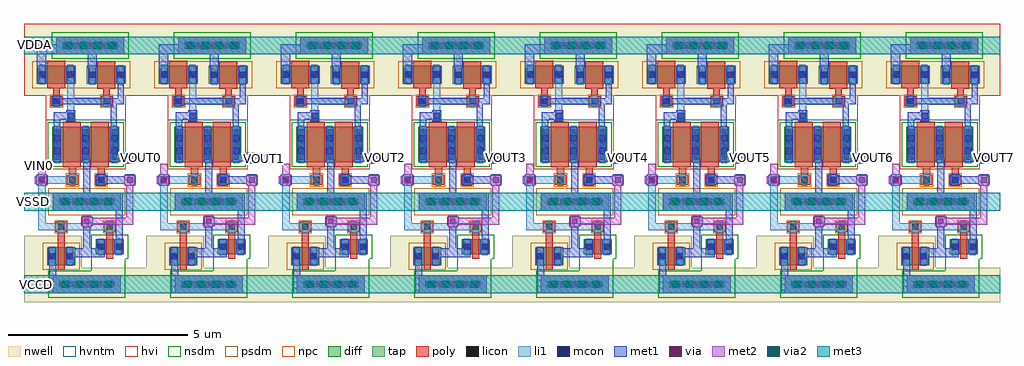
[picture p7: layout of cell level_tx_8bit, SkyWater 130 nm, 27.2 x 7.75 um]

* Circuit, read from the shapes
.subckt level_tx_8bit VCCD VDDA VIN0 VIN1 VIN2 VIN3 VIN4 VIN5 VIN6 VIN7 VOUT0 VOUT1 VOUT2 VOUT3 VOUT4 VOUT5 VOUT6 VOUT7 VSSD
XM1 VSSD VIN0 n1 VSSD sky130_fd_pr__nfet_g5v0d10v5 w=1 l=0.5
XM2 VOUT0 n2 VSSD VSSD sky130_fd_pr__nfet_g5v0d10v5 w=1 l=0.5
XM3 VSSD VIN0 n2 VSSD sky130_fd_pr__nfet_01v8 w=0.42 l=0.2
XM4 VSSD VIN1 n3 VSSD sky130_fd_pr__nfet_g5v0d10v5 w=1 l=0.5
XM5 VOUT1 n4 VSSD VSSD sky130_fd_pr__nfet_g5v0d10v5 w=1 l=0.5
XM6 VSSD VIN1 n4 VSSD sky130_fd_pr__nfet_01v8 w=0.42 l=0.2
XM7 VSSD VIN2 n5 VSSD sky130_fd_pr__nfet_g5v0d10v5 w=1 l=0.5
XM8 VOUT2 n6 VSSD VSSD sky130_fd_pr__nfet_g5v0d10v5 w=1 l=0.5
XM9 VSSD VIN2 n6 VSSD sky130_fd_pr__nfet_01v8 w=0.42 l=0.2
XM10 VSSD VIN3 n7 VSSD sky130_fd_pr__nfet_g5v0d10v5 w=1 l=0.5
XM11 VOUT3 n8 VSSD VSSD sky130_fd_pr__nfet_g5v0d10v5 w=1 l=0.5
XM12 VSSD VIN3 n8 VSSD sky130_fd_pr__nfet_01v8 w=0.42 l=0.2
XM13 VSSD VIN4 n9 VSSD sky130_fd_pr__nfet_g5v0d10v5 w=1 l=0.5
XM14 VOUT4 n10 VSSD VSSD sky130_fd_pr__nfet_g5v0d10v5 w=1 l=0.5
XM15 VSSD VIN4 n10 VSSD sky130_fd_pr__nfet_01v8 w=0.42 l=0.2
XM16 VSSD VIN5 n11 VSSD sky130_fd_pr__nfet_g5v0d10v5 w=1 l=0.5
XM17 VOUT5 n12 VSSD VSSD sky130_fd_pr__nfet_g5v0d10v5 w=1 l=0.5
XM18 VSSD VIN5 n12 VSSD sky130_fd_pr__nfet_01v8 w=0.42 l=0.2
XM19 VSSD VIN6 n13 VSSD sky130_fd_pr__nfet_g5v0d10v5 w=1 l=0.5
XM20 VOUT6 n14 VSSD VSSD sky130_fd_pr__nfet_g5v0d10v5 w=1 l=0.5
XM21 VSSD VIN6 n14 VSSD sky130_fd_pr__nfet_01v8 w=0.42 l=0.2
XM22 VSSD VIN7 n15 VSSD sky130_fd_pr__nfet_g5v0d10v5 w=1 l=0.5
XM23 VOUT7 n16 VSSD VSSD sky130_fd_pr__nfet_g5v0d10v5 w=1 l=0.5
XM24 VSSD VIN7 n16 VSSD sky130_fd_pr__nfet_01v8 w=0.42 l=0.2
XM25 n1 VOUT0 VDDA VDDA sky130_fd_pr__pfet_g5v0d10v5 w=0.5 l=0.5
XM26 n2 VIN0 VCCD VCCD sky130_fd_pr__pfet_01v8 w=0.5 l=0.2
XM27 VOUT0 n1 VDDA VDDA sky130_fd_pr__pfet_g5v0d10v5 w=0.5 l=0.5
XM28 n3 VOUT1 VDDA VDDA sky130_fd_pr__pfet_g5v0d10v5 w=0.5 l=0.5
XM29 n4 VIN1 VCCD VCCD sky130_fd_pr__pfet_01v8 w=0.5 l=0.2
XM30 VOUT1 n3 VDDA VDDA sky130_fd_pr__pfet_g5v0d10v5 w=0.5 l=0.5
XM31 n5 VOUT2 VDDA VDDA sky130_fd_pr__pfet_g5v0d10v5 w=0.5 l=0.5
XM32 n6 VIN2 VCCD VCCD sky130_fd_pr__pfet_01v8 w=0.5 l=0.2
XM33 VOUT2 n5 VDDA VDDA sky130_fd_pr__pfet_g5v0d10v5 w=0.5 l=0.5
XM34 n7 VOUT3 VDDA VDDA sky130_fd_pr__pfet_g5v0d10v5 w=0.5 l=0.5
XM35 n8 VIN3 VCCD VCCD sky130_fd_pr__pfet_01v8 w=0.5 l=0.2
XM36 VOUT3 n7 VDDA VDDA sky130_fd_pr__pfet_g5v0d10v5 w=0.5 l=0.5
XM37 n9 VOUT4 VDDA VDDA sky130_fd_pr__pfet_g5v0d10v5 w=0.5 l=0.5
XM38 n10 VIN4 VCCD VCCD sky130_fd_pr__pfet_01v8 w=0.5 l=0.2
XM39 VOUT4 n9 VDDA VDDA sky130_fd_pr__pfet_g5v0d10v5 w=0.5 l=0.5
XM40 n11 VOUT5 VDDA VDDA sky130_fd_pr__pfet_g5v0d10v5 w=0.5 l=0.5
XM41 n12 VIN5 VCCD VCCD sky130_fd_pr__pfet_01v8 w=0.5 l=0.2
XM42 VOUT5 n11 VDDA VDDA sky130_fd_pr__pfet_g5v0d10v5 w=0.5 l=0.5
XM43 n13 VOUT6 VDDA VDDA sky130_fd_pr__pfet_g5v0d10v5 w=0.5 l=0.5
XM44 n14 VIN6 VCCD VCCD sky130_fd_pr__pfet_01v8 w=0.5 l=0.2
XM45 VOUT6 n13 VDDA VDDA sky130_fd_pr__pfet_g5v0d10v5 w=0.5 l=0.5
XM46 n15 VOUT7 VDDA VDDA sky130_fd_pr__pfet_g5v0d10v5 w=0.5 l=0.5
XM47 n16 VIN7 VCCD VCCD sky130_fd_pr__pfet_01v8 w=0.5 l=0.2
XM48 VOUT7 n15 VDDA VDDA sky130_fd_pr__pfet_g5v0d10v5 w=0.5 l=0.5
.ends

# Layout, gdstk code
import gdstk
lib = gdstk.Library(unit=1e-6, precision=1e-09)
def R(c, l, rs):  # rectangles x0, y0, x1, y1
    for r in rs: c.add(gdstk.rectangle(r[:2], r[2:], *l))
def A(c, l, x, y, w, h, nx, ny, dx, dy):  # array of equal rectangles
    R(c, l, [(x+i*dx, y+j*dy, x+i*dx+w, y+j*dy+h) for i in range(nx) for j in range(ny)])
nwell = (64, 20)
diff = (65, 20)
tap = (65, 44)
poly = (66, 20)
licon = (66, 44)
li1 = (67, 20)
mcon = (67, 44)
met1 = (68, 20)
via = (68, 44)
met2 = (69, 20)
via2 = (69, 44)
met3 = (70, 20)
hvi = (75, 20)
nsdm = (93, 44)
psdm = (94, 20)
npc = (95, 20)
hvntm = (125, 20)

level_tx_1bit = lib.new_cell('level_tx_1bit')
R(level_tx_1bit, nwell, [(-7.9,2.35,-4.5,3.3), (-7.9,3.3,-6.295,4.185), (-7.9,4.185,-6.3,4.2), (-7.9,8.1,-4.5,10.1)])
R(level_tx_1bit, diff, [(-7.255,3.375,-6.475,3.875), (-5.9,3.68,-5.12,4.1), (-7.115,6.24,-5.245,7.24), (-6.145,8.43,-5.065,8.93), (-7.54,8.44,-6.46,8.94)])
R(level_tx_1bit, tap, [(-7.1,2.6,-5.2,3.1), (-7.1,4.9,-5.2,5.4), (-7,9.25,-5.1,9.75)])
R(level_tx_1bit, poly, [(-6.965,3.245,-6.765,4.315), (-5.61,3.55,-5.41,4.315), (-7.03,4.315,-6.7,4.585), (-5.675,4.315,-5.345,4.585), (-6.715,5.615,-6.385,5.885), (-5.915,5.615,-5.585,5.885), (-6.65,5.885,-6.45,6.11), (-5.85,5.885,-5.65,6.11), (-6.825,6.11,-6.325,7.37), (-6.035,6.11,-5.535,7.37), (-7.16,7.81,-6.83,8.08), (-5.76,7.81,-5.43,8.08), (-7.085,8.08,-6.91,8.31), (-5.69,8.08,-5.505,8.3), (-5.855,8.3,-5.355,9.06), (-7.25,8.31,-6.75,9.07)])
A(level_tx_1bit, licon, -6.915, 2.765, 0.17, 0.17, 5, 2, 0.34, 2.3)
A(level_tx_1bit, licon, -7.055, 6.315, 0.17, 0.17, 3, 3, 0.79, 0.34)
A(level_tx_1bit, licon, -6.815, 9.415, 0.17, 0.17, 5, 1, 0.34, 0)
R(level_tx_1bit, licon, [(-7.195,3.54,-7.025,3.71), (-6.705,3.54,-6.535,3.71), (-5.84,3.805,-5.67,3.975), (-5.35,3.805,-5.18,3.975), (-6.95,4.365,-6.78,4.535), (-5.595,4.365,-5.425,4.535), (-6.635,5.665,-6.465,5.835), (-5.835,5.665,-5.665,5.835), (-7.08,7.86,-6.91,8.03), (-5.68,7.86,-5.51,8.03), (-6.085,8.595,-5.915,8.765), (-5.295,8.595,-5.125,8.765), (-7.48,8.605,-7.31,8.775), (-6.69,8.605,-6.52,8.775)])
A(level_tx_1bit, li1, -7.055, 6.22, 0.17, 1.04, 3, 1, 0.79, 0)
R(level_tx_1bit, li1, [(-7.1,2.6,-5.2,3.1), (-7.195,3.355,-7.025,3.895), (-6.705,3.355,-6.535,3.895), (-5.84,3.66,-5.67,4.12), (-5.35,3.66,-5.18,4.12), (-6.95,4.285,-6.78,4.35), (-5.595,4.285,-5.425,4.35), (-7.5,4.35,-5.41,4.55), (-7.5,4.55,-7.3,5.65), (-6.95,4.55,-6.78,4.615), (-5.595,4.55,-5.425,4.615), (-7.1,4.9,-5.2,5.4), (-6.635,5.585,-6.465,5.65), (-5.835,5.585,-5.665,5.65), (-7.5,5.65,-6.45,5.85), (-5.85,5.65,-5.65,5.85), (-6.635,5.85,-6.465,5.915), (-5.835,5.85,-5.665,5.915), (-6.69,7.45,-6.505,7.855), (-7.08,7.78,-6.91,7.86), (-5.68,7.78,-5.51,7.855), (-6.69,7.855,-5.5,8.04), (-7.08,7.86,-6.905,8.035), (-7.08,8.035,-6.91,8.11), (-6.69,8.04,-6.505,8.69), (-5.68,8.04,-5.51,8.11), (-6.085,8.41,-5.915,8.95), (-5.295,8.41,-5.125,8.95), (-7.48,8.42,-7.31,8.96), (-6.69,8.69,-6.52,8.96), (-7,9.25,-5.1,9.75)])
A(level_tx_1bit, mcon, -6.775, 2.765, 0.17, 0.17, 4, 2, 0.36, 2.3)
A(level_tx_1bit, mcon, -7.055, 6.475, 0.17, 0.17, 3, 2, 0.79, 0.36)
A(level_tx_1bit, mcon, -6.675, 9.415, 0.17, 0.17, 4, 1, 0.36, 0)
R(level_tx_1bit, mcon, [(-7.195,3.54,-7.025,3.71), (-6.705,3.54,-6.535,3.71), (-5.84,3.805,-5.67,3.975), (-5.35,3.805,-5.18,3.975), (-7.485,5.665,-7.315,5.835), (-5.835,5.665,-5.665,5.835), (-6.685,7.455,-6.515,7.625), (-7.08,7.86,-6.91,8.03), (-6.085,8.595,-5.915,8.765), (-5.295,8.595,-5.125,8.765), (-7.48,8.605,-7.31,8.775), (-6.69,8.605,-6.52,8.775)])
R(level_tx_1bit, met1, [(-7.2,2.6,-5.2,3.1), (-7.2,3.1,-7,3.375), (-7.225,3.375,-6.995,3.875), (-6.735,3.375,-6.505,3.6), (-6.735,3.6,-5.65,3.68), (-6.735,3.68,-5.64,3.85), (-5.38,3.68,-5.15,4.1), (-6.735,3.85,-6.505,3.875), (-6.25,3.85,-6.05,4.47), (-5.87,3.85,-5.64,4.1), (-5.35,4.1,-5.15,4.9), (-6.31,4.47,-5.99,4.73), (-7.1,4.9,-5.15,5.4), (-6.255,5.4,-6.06,6.24), (-7.53,5.59,-7.27,5.62), (-5.88,5.59,-5.62,5.65), (-5.08,5.59,-4.82,5.65), (-7.56,5.62,-7.24,5.88), (-5.88,5.65,-4.82,5.85), (-5.88,5.85,-5.62,5.91), (-5.08,5.85,-4.82,5.91), (-7.53,5.88,-7.27,5.91), (-5.12,6.23,-4.8,6.27), (-7.085,6.24,-6.855,7.24), (-6.295,6.24,-6.06,6.335), (-5.505,6.24,-5.275,6.27), (-5.505,6.27,-4.8,6.445), (-6.295,6.335,-6.065,7.24), (-5.505,6.445,-5.275,7.24), (-5.12,6.445,-4.8,6.49), (-7.075,7.24,-6.89,7.45), (-5.485,7.24,-5.31,7.86), (-6.72,7.39,-6.475,7.45), (-7.075,7.45,-6.475,7.635), (-6.72,7.635,-6.475,7.695), (-7.11,7.8,-6.875,7.86), (-7.11,7.86,-5.115,8.035), (-7.11,8.035,-6.875,8.095), (-5.29,8.035,-5.115,8.43), (-6.115,8.43,-5.885,8.875), (-5.325,8.43,-5.095,8.93), (-7.51,8.44,-7.28,8.88), (-6.72,8.44,-6.49,8.94), (-6.13,8.875,-5.87,9.25), (-7.54,8.88,-7.28,9.27), (-7,9.25,-5.1,9.27), (-7.54,9.27,-5.1,9.53), (-7,9.53,-5.1,9.75)])
A(level_tx_1bit, via, -6.865, 2.775, 0.15, 0.15, 5, 2, 0.32, 2.3)
A(level_tx_1bit, via, -6.765, 9.425, 0.15, 0.15, 5, 1, 0.32, 0)
R(level_tx_1bit, via, [(-6.225,4.525,-6.075,4.675), (-7.475,5.675,-7.325,5.825), (-5.025,5.675,-4.875,5.825), (-5.035,6.285,-4.885,6.435)])
R(level_tx_1bit, met2, [(-7.1,2.6,-5.2,3.1), (-6.28,4.44,-6.02,4.5), (-6.28,4.5,-4.85,4.7), (-6.28,4.7,-6.02,4.76), (-5.05,4.7,-4.85,5.62), (-7.1,4.9,-5.2,5.4), (-7.53,5.59,-7.27,5.65), (-5.11,5.62,-4.79,5.65), (-7.6,5.65,-7.27,5.85), (-5.11,5.65,-4.78,5.85), (-7.53,5.85,-7.27,5.91), (-5.11,5.85,-4.79,5.88), (-7.5,5.91,-7.3,6.2), (-5.09,6.2,-4.83,6.275), (-5.09,6.275,-4.59,6.45), (-5.09,6.45,-4.83,6.52), (-7,9.25,-5.1,9.75)])
A(level_tx_1bit, via2, -6.85, 2.75, 0.2, 0.2, 4, 2, 0.4, 2.3)
A(level_tx_1bit, via2, -6.75, 9.4, 0.2, 0.2, 4, 1, 0.4, 0)
R(level_tx_1bit, met3, [(-7.9,2.6,-4.5,3.1), (-7.9,4.9,-4.5,5.4), (-7.9,9.25,-4.5,9.75)])
R(level_tx_1bit, hvi, [(-7.3,6.055,-5.06,8.1), (-7.9,8.1,-4.5,10.1)])
R(level_tx_1bit, nsdm, [(-7.225,2.475,-5.075,3.225), (-6.025,3.225,-5.075,3.555), (-6.025,3.555,-4.995,4.225), (-7.24,6.115,-5.12,7.365), (-7.125,9.125,-4.975,9.875)])
R(level_tx_1bit, psdm, [(-7.38,3.25,-6.35,4), (-7.225,4.775,-5.075,5.525), (-6.27,8.305,-4.94,8.315), (-7.665,8.315,-4.94,9.055), (-7.665,9.055,-6.335,9.065)])
R(level_tx_1bit, npc, [(-7.05,4.265,-6.68,4.635), (-5.695,4.265,-5.325,4.635), (-6.735,5.565,-6.365,5.935), (-5.935,5.565,-5.565,5.935), (-7.18,7.76,-6.81,8.13), (-5.78,7.76,-5.41,8.13)])
R(level_tx_1bit, hvntm, [(-7.3,6.055,-5.06,7.425)])
level_tx_1bit.add(gdstk.Label('VCCD', (-7.7,2.85), layer=70, texttype=5))
level_tx_1bit.add(gdstk.Label('VSSD', (-7.7,5.15), layer=70, texttype=5))
level_tx_1bit.add(gdstk.Label('VDDA', (-7.75,9.55), layer=70, texttype=5))
level_tx_1bit.add(gdstk.Label('VIN', (-7.4,6.1), layer=69, texttype=5))
level_tx_1bit.add(gdstk.Label('VOUT', (-4.68,6.35), layer=69, texttype=5))

level_tx_8bit = lib.new_cell('level_tx_8bit')
R(level_tx_8bit, met2, [(10.7,3.59,10.9,4.05), (17.5,3.6,17.7,4.05), (3.9,3.62,4.1,4.05), (14.1,3.63,14.3,4.05), (20.9,3.64,21.1,4.05), (7.3,3.66,7.5,4.05), (24.3,3.66,24.5,4.05), (0.5,3.71,0.7,4.05), (2.985,4.125,3.41,4.3), (6.465,4.125,6.81,4.3), (9.875,4.125,10.21,4.3), (13.235,4.125,13.61,4.3), (16.635,4.125,17.01,4.3), (20.025,4.125,20.41,4.3), (23.425,4.125,23.81,4.3), (26.855,4.125,27.21,4.3)])
R(level_tx_8bit, met3, [(0.1,0.45,1.36,0.95), (0.1,2.75,1.27,3.25), (0.1,7.1,1.17,7.6)])
r = gdstk.Reference(level_tx_1bit, (8,-2.15)); r.repetition = gdstk.Repetition(8, 1, v1=(3.4,0), v2=(0,7.75)); level_tx_8bit.add(r)
level_tx_8bit.add(gdstk.Label('VDDA', (0.4,7.37), layer=70, texttype=5))
level_tx_8bit.add(gdstk.Label('VCCD', (0.45,0.69), layer=70, texttype=5))
level_tx_8bit.add(gdstk.Label('VSSD', (0.37,3), layer=70, texttype=5))
level_tx_8bit.add(gdstk.Label('VIN0', (0.54,4.01), layer=69, texttype=5))
level_tx_8bit.add(gdstk.Label('VOUT0', (3.38,4.22), layer=69, texttype=5))
level_tx_8bit.add(gdstk.Label('VIN1', (3.95,3.98), layer=69, texttype=5))
level_tx_8bit.add(gdstk.Label('VOUT1', (6.79,4.21), layer=69, texttype=5))
level_tx_8bit.add(gdstk.Label('VIN2', (7.44,3.98), layer=69, texttype=5))
level_tx_8bit.add(gdstk.Label('VOUT2', (10.18,4.23), layer=69, texttype=5))
level_tx_8bit.add(gdstk.Label('VIN3', (10.74,3.98), layer=69, texttype=5))
level_tx_8bit.add(gdstk.Label('VOUT3', (13.54,4.23), layer=69, texttype=5))
level_tx_8bit.add(gdstk.Label('VIN4', (14.26,4), layer=69, texttype=5))
level_tx_8bit.add(gdstk.Label('VOUT4', (16.96,4.22), layer=69, texttype=5))
level_tx_8bit.add(gdstk.Label('VIN5', (17.63,3.99), layer=69, texttype=5))
level_tx_8bit.add(gdstk.Label('VOUT5', (20.36,4.23), layer=69, texttype=5))
level_tx_8bit.add(gdstk.Label('VIN6', (20.96,4), layer=69, texttype=5))
level_tx_8bit.add(gdstk.Label('VOUT6', (23.78,4.24), layer=69, texttype=5))
level_tx_8bit.add(gdstk.Label('VIN7', (24.41,4), layer=69, texttype=5))
level_tx_8bit.add(gdstk.Label('VOUT7', (27.16,4.22), layer=69, texttype=5))

lib.write_gds('level_tx_8bit.gds')
